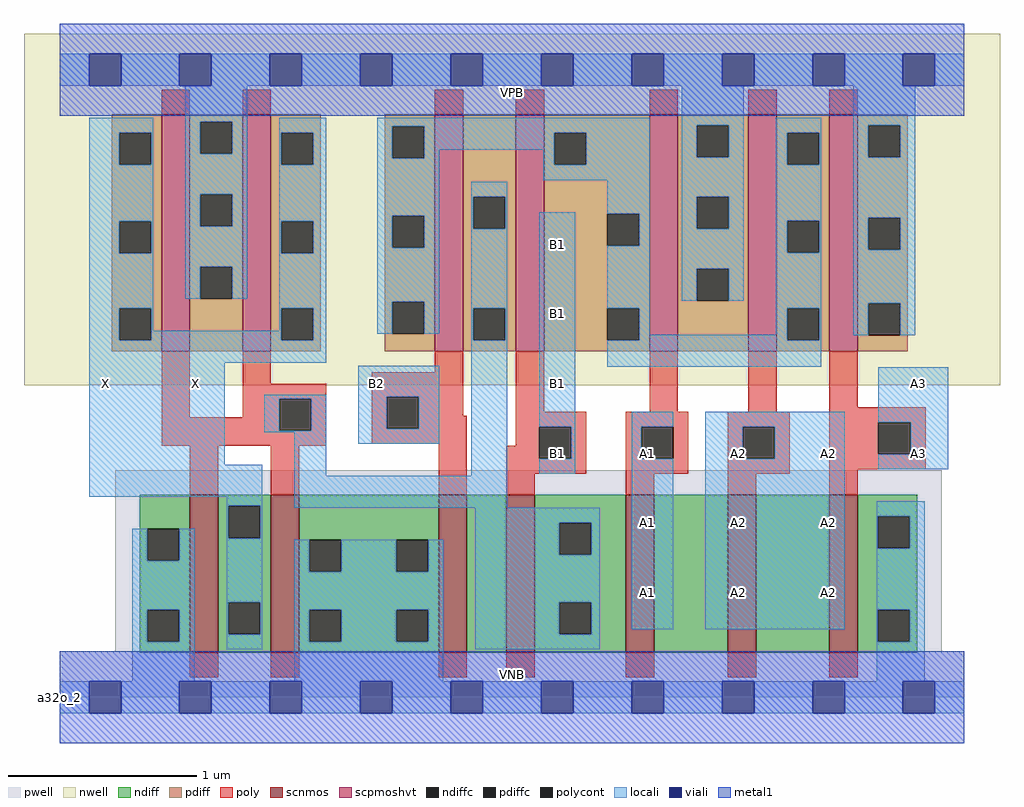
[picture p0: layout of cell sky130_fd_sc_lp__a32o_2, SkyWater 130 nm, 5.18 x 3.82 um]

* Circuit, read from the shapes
.subckt sky130_fd_sc_lp__a32o_2 A1 A2 A3 B1 B2 VGND VNB VPB VPWR X
XM1 X n1 VGND VNB sky130_fd_pr__nfet_01v8 w=0.84 l=0.15 m=2
XM2 n2 B2 VGND VNB sky130_fd_pr__nfet_01v8 w=0.84 l=0.15
XM3 n1 B1 n2 VNB sky130_fd_pr__nfet_01v8 w=0.84 l=0.15
XM4 n3 A1 n1 VNB sky130_fd_pr__nfet_01v8 w=0.84 l=0.15
XM5 n4 A2 n3 VNB sky130_fd_pr__nfet_01v8 w=0.84 l=0.15
XM6 VGND A3 n4 VNB sky130_fd_pr__nfet_01v8 w=0.84 l=0.15
XM7 VPWR n1 X VPB sky130_fd_pr__pfet_01v8_hvt w=1.26 l=0.15 m=2
XM8 n1 B2 n5 VPB sky130_fd_pr__pfet_01v8_hvt w=1.26 l=0.15
XM9 n5 B1 n1 VPB sky130_fd_pr__pfet_01v8_hvt w=1.26 l=0.15
XM10 VPWR A1 n5 VPB sky130_fd_pr__pfet_01v8_hvt w=1.26 l=0.15
XM11 n5 A2 VPWR VPB sky130_fd_pr__pfet_01v8_hvt w=1.26 l=0.15
XM12 VPWR A3 n5 VPB sky130_fd_pr__pfet_01v8_hvt w=1.26 l=0.15
.ends

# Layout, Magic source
magic
tech sky130A
magscale 1 2
<< nwell >>
rect -38 331 998 704
<< pwell >>
rect 59 49 936 241
rect 0 0 960 49
<< scnmos >>
rect 138 47 168 215
rect 224 47 254 215
rect 402 47 432 215
rect 474 47 504 215
rect 601 47 631 215
rect 709 47 739 215
rect 817 47 847 215
<< scpmoshvt >>
rect 108 367 138 619
rect 194 367 224 619
rect 398 367 428 619
rect 484 367 514 619
rect 626 367 656 619
rect 731 367 761 619
rect 817 367 847 619
<< ndiff >>
rect 85 179 138 215
rect 85 145 93 179
rect 127 145 138 179
rect 85 93 138 145
rect 85 59 93 93
rect 127 59 138 93
rect 85 47 138 59
rect 168 203 224 215
rect 168 169 179 203
rect 213 169 224 203
rect 168 101 224 169
rect 168 67 179 101
rect 213 67 224 101
rect 168 47 224 67
rect 254 167 402 215
rect 254 133 265 167
rect 299 133 357 167
rect 391 133 402 167
rect 254 93 402 133
rect 254 59 265 93
rect 299 59 357 93
rect 391 59 402 93
rect 254 47 402 59
rect 432 47 474 215
rect 504 185 601 215
rect 504 151 530 185
rect 564 151 601 185
rect 504 101 601 151
rect 504 67 530 101
rect 564 67 601 101
rect 504 47 601 67
rect 631 47 709 215
rect 739 47 817 215
rect 847 192 910 215
rect 847 158 868 192
rect 902 158 910 192
rect 847 93 910 158
rect 847 59 868 93
rect 902 59 910 93
rect 847 47 910 59
<< pdiff >>
rect 55 599 108 619
rect 55 565 63 599
rect 97 565 108 599
rect 55 505 108 565
rect 55 471 63 505
rect 97 471 108 505
rect 55 413 108 471
rect 55 379 63 413
rect 97 379 108 413
rect 55 367 108 379
rect 138 611 194 619
rect 138 577 149 611
rect 183 577 194 611
rect 138 534 194 577
rect 138 500 149 534
rect 183 500 194 534
rect 138 457 194 500
rect 138 423 149 457
rect 183 423 194 457
rect 138 367 194 423
rect 224 599 277 619
rect 224 565 235 599
rect 269 565 277 599
rect 224 505 277 565
rect 224 471 235 505
rect 269 471 277 505
rect 224 413 277 471
rect 224 379 235 413
rect 269 379 277 413
rect 224 367 277 379
rect 345 606 398 619
rect 345 572 353 606
rect 387 572 398 606
rect 345 511 398 572
rect 345 477 353 511
rect 387 477 398 511
rect 345 420 398 477
rect 345 386 353 420
rect 387 386 398 420
rect 345 367 398 386
rect 428 531 484 619
rect 428 497 439 531
rect 473 497 484 531
rect 428 413 484 497
rect 428 379 439 413
rect 473 379 484 413
rect 428 367 484 379
rect 514 599 626 619
rect 514 565 525 599
rect 559 565 626 599
rect 514 513 626 565
rect 514 479 581 513
rect 615 479 626 513
rect 514 413 626 479
rect 514 379 581 413
rect 615 379 626 413
rect 514 367 626 379
rect 656 607 731 619
rect 656 573 676 607
rect 710 573 731 607
rect 656 531 731 573
rect 656 497 676 531
rect 710 497 731 531
rect 656 455 731 497
rect 656 421 676 455
rect 710 421 731 455
rect 656 367 731 421
rect 761 599 817 619
rect 761 565 772 599
rect 806 565 817 599
rect 761 506 817 565
rect 761 472 772 506
rect 806 472 817 506
rect 761 413 817 472
rect 761 379 772 413
rect 806 379 817 413
rect 761 367 817 379
rect 847 607 900 619
rect 847 573 858 607
rect 892 573 900 607
rect 847 509 900 573
rect 847 475 858 509
rect 892 475 900 509
rect 847 418 900 475
rect 847 384 858 418
rect 892 384 900 418
rect 847 367 900 384
<< ndiffc >>
rect 93 145 127 179
rect 93 59 127 93
rect 179 169 213 203
rect 179 67 213 101
rect 265 133 299 167
rect 357 133 391 167
rect 265 59 299 93
rect 357 59 391 93
rect 530 151 564 185
rect 530 67 564 101
rect 868 158 902 192
rect 868 59 902 93
<< pdiffc >>
rect 63 565 97 599
rect 63 471 97 505
rect 63 379 97 413
rect 149 577 183 611
rect 149 500 183 534
rect 149 423 183 457
rect 235 565 269 599
rect 235 471 269 505
rect 235 379 269 413
rect 353 572 387 606
rect 353 477 387 511
rect 353 386 387 420
rect 439 497 473 531
rect 439 379 473 413
rect 525 565 559 599
rect 581 479 615 513
rect 581 379 615 413
rect 676 573 710 607
rect 676 497 710 531
rect 676 421 710 455
rect 772 565 806 599
rect 772 472 806 506
rect 772 379 806 413
rect 858 573 892 607
rect 858 475 892 509
rect 858 384 892 418
<< poly >>
rect 108 619 138 645
rect 194 619 224 645
rect 398 619 428 645
rect 484 619 514 645
rect 626 619 656 645
rect 731 619 761 645
rect 817 619 847 645
rect 108 297 138 367
rect 194 333 224 367
rect 398 345 428 367
rect 194 317 283 333
rect 194 297 233 317
rect 108 283 233 297
rect 267 283 283 317
rect 108 267 283 283
rect 331 319 428 345
rect 331 285 347 319
rect 381 299 428 319
rect 484 303 514 367
rect 626 303 656 367
rect 731 303 761 367
rect 817 308 847 367
rect 381 285 432 299
rect 331 269 432 285
rect 138 215 168 267
rect 224 215 254 267
rect 402 215 432 269
rect 484 287 559 303
rect 484 267 509 287
rect 474 253 509 267
rect 543 253 559 287
rect 474 237 559 253
rect 601 287 667 303
rect 601 253 617 287
rect 651 253 667 287
rect 601 237 667 253
rect 709 287 775 303
rect 709 253 725 287
rect 759 253 775 287
rect 709 237 775 253
rect 817 292 919 308
rect 817 258 869 292
rect 903 258 919 292
rect 817 242 919 258
rect 474 215 504 237
rect 601 215 631 237
rect 709 215 739 237
rect 817 215 847 242
rect 138 21 168 47
rect 224 21 254 47
rect 402 21 432 47
rect 474 21 504 47
rect 601 21 631 47
rect 709 21 739 47
rect 817 21 847 47
<< polycont >>
rect 233 283 267 317
rect 347 285 381 319
rect 509 253 543 287
rect 617 253 651 287
rect 725 253 759 287
rect 869 258 903 292
<< locali >>
rect 0 649 31 683
rect 65 649 127 683
rect 161 649 223 683
rect 257 649 319 683
rect 353 649 415 683
rect 449 649 511 683
rect 545 649 607 683
rect 641 649 703 683
rect 737 649 799 683
rect 833 649 895 683
rect 929 649 960 683
rect 31 599 99 615
rect 31 565 63 599
rect 97 565 99 599
rect 31 505 99 565
rect 31 471 63 505
rect 97 471 99 505
rect 31 413 99 471
rect 133 611 199 649
rect 133 577 149 611
rect 183 577 199 611
rect 133 534 199 577
rect 133 500 149 534
rect 183 500 199 534
rect 133 457 199 500
rect 133 423 149 457
rect 183 423 199 457
rect 233 599 283 615
rect 233 565 235 599
rect 269 565 283 599
rect 233 505 283 565
rect 233 471 235 505
rect 269 471 283 505
rect 31 379 63 413
rect 97 389 99 413
rect 233 413 283 471
rect 233 389 235 413
rect 97 379 235 389
rect 269 379 283 413
rect 337 606 626 615
rect 337 572 353 606
rect 387 599 626 606
rect 387 581 525 599
rect 387 572 403 581
rect 337 511 403 572
rect 513 565 525 581
rect 559 565 626 599
rect 513 549 626 565
rect 337 477 353 511
rect 387 477 403 511
rect 337 420 403 477
rect 337 386 353 420
rect 387 386 403 420
rect 437 531 475 547
rect 437 497 439 531
rect 473 497 475 531
rect 437 413 475 497
rect 31 355 283 379
rect 437 379 439 413
rect 473 379 475 413
rect 31 247 175 355
rect 217 317 283 321
rect 217 283 233 317
rect 267 283 283 317
rect 217 281 283 283
rect 31 213 215 247
rect 177 203 215 213
rect 77 145 93 179
rect 127 145 143 179
rect 77 93 143 145
rect 77 59 93 93
rect 127 59 143 93
rect 77 17 143 59
rect 177 169 179 203
rect 213 169 215 203
rect 249 235 283 281
rect 317 319 403 352
rect 317 285 347 319
rect 381 285 403 319
rect 317 269 403 285
rect 437 235 475 379
rect 509 287 547 515
rect 581 513 626 549
rect 615 479 626 513
rect 581 413 626 479
rect 660 607 726 649
rect 660 573 676 607
rect 710 573 726 607
rect 660 531 726 573
rect 660 497 676 531
rect 710 497 726 531
rect 660 455 726 497
rect 660 421 676 455
rect 710 421 726 455
rect 760 599 808 615
rect 760 565 772 599
rect 806 565 808 599
rect 760 506 808 565
rect 760 472 772 506
rect 806 472 808 506
rect 615 385 626 413
rect 760 413 808 472
rect 760 385 772 413
rect 615 379 772 385
rect 806 379 808 413
rect 842 607 908 649
rect 842 573 858 607
rect 892 573 908 607
rect 842 509 908 573
rect 842 475 858 509
rect 892 475 908 509
rect 842 418 908 475
rect 842 384 858 418
rect 892 384 908 418
rect 581 351 808 379
rect 543 253 547 287
rect 509 237 547 253
rect 607 287 651 303
rect 607 253 617 287
rect 249 201 475 235
rect 177 101 215 169
rect 441 185 573 201
rect 177 67 179 101
rect 213 67 215 101
rect 177 51 215 67
rect 249 133 265 167
rect 299 133 357 167
rect 391 133 407 167
rect 249 93 407 133
rect 249 59 265 93
rect 299 59 357 93
rect 391 59 407 93
rect 249 17 407 59
rect 441 151 530 185
rect 564 151 573 185
rect 441 101 573 151
rect 441 67 530 101
rect 564 67 573 101
rect 607 72 651 253
rect 685 287 833 303
rect 685 253 725 287
rect 759 253 833 287
rect 685 72 833 253
rect 869 292 943 350
rect 903 258 943 292
rect 869 242 943 258
rect 867 192 918 208
rect 867 158 868 192
rect 902 158 918 192
rect 867 93 918 158
rect 441 51 573 67
rect 867 59 868 93
rect 902 59 918 93
rect 867 17 918 59
rect 0 -17 31 17
rect 65 -17 127 17
rect 161 -17 223 17
rect 257 -17 319 17
rect 353 -17 415 17
rect 449 -17 511 17
rect 545 -17 607 17
rect 641 -17 703 17
rect 737 -17 799 17
rect 833 -17 895 17
rect 929 -17 960 17
<< viali >>
rect 31 649 65 683
rect 127 649 161 683
rect 223 649 257 683
rect 319 649 353 683
rect 415 649 449 683
rect 511 649 545 683
rect 607 649 641 683
rect 703 649 737 683
rect 799 649 833 683
rect 895 649 929 683
rect 31 -17 65 17
rect 127 -17 161 17
rect 223 -17 257 17
rect 319 -17 353 17
rect 415 -17 449 17
rect 511 -17 545 17
rect 607 -17 641 17
rect 703 -17 737 17
rect 799 -17 833 17
rect 895 -17 929 17
<< metal1 >>
rect 0 683 960 715
rect 0 649 31 683
rect 65 649 127 683
rect 161 649 223 683
rect 257 649 319 683
rect 353 649 415 683
rect 449 649 511 683
rect 545 649 607 683
rect 641 649 703 683
rect 737 649 799 683
rect 833 649 895 683
rect 929 649 960 683
rect 0 617 960 649
rect 0 17 960 49
rect 0 -17 31 17
rect 65 -17 127 17
rect 161 -17 223 17
rect 257 -17 319 17
rect 353 -17 415 17
rect 449 -17 511 17
rect 545 -17 607 17
rect 641 -17 703 17
rect 737 -17 799 17
rect 833 -17 895 17
rect 929 -17 960 17
rect 0 -49 960 -17
<< labels >>
flabel pwell s 0 0 960 49 0 FreeSans 200 0 0 0 VNB
port 7 nsew ground bidirectional
flabel nwell s 0 617 960 666 0 FreeSans 200 0 0 0 VPB
port 8 nsew power bidirectional
rlabel comment s 0 0 0 0 4 a32o_2
flabel metal1 s 0 617 960 666 0 FreeSans 340 0 0 0 VPWR
port 9 nsew power bidirectional
flabel metal1 s 0 0 960 49 0 FreeSans 340 0 0 0 VGND
port 6 nsew ground bidirectional
flabel locali s 31 316 65 350 0 FreeSans 340 0 0 0 X
port 10 nsew signal output
flabel locali s 127 316 161 350 0 FreeSans 340 0 0 0 X
port 10 nsew signal output
flabel locali s 607 94 641 128 0 FreeSans 340 0 0 0 A1
port 1 nsew signal input
flabel locali s 607 168 641 202 0 FreeSans 340 0 0 0 A1
port 1 nsew signal input
flabel locali s 607 242 641 276 0 FreeSans 340 0 0 0 A1
port 1 nsew signal input
flabel locali s 703 94 737 128 0 FreeSans 340 0 0 0 A2
port 2 nsew signal input
flabel locali s 703 168 737 202 0 FreeSans 340 0 0 0 A2
port 2 nsew signal input
flabel locali s 703 242 737 276 0 FreeSans 340 0 0 0 A2
port 2 nsew signal input
flabel locali s 799 94 833 128 0 FreeSans 340 0 0 0 A2
port 2 nsew signal input
flabel locali s 799 168 833 202 0 FreeSans 340 0 0 0 A2
port 2 nsew signal input
flabel locali s 799 242 833 276 0 FreeSans 340 0 0 0 A2
port 2 nsew signal input
flabel locali s 511 242 545 276 0 FreeSans 340 0 0 0 B1
port 4 nsew signal input
flabel locali s 511 316 545 350 0 FreeSans 340 0 0 0 B1
port 4 nsew signal input
flabel locali s 511 390 545 424 0 FreeSans 340 0 0 0 B1
port 4 nsew signal input
flabel locali s 511 464 545 498 0 FreeSans 340 0 0 0 B1
port 4 nsew signal input
flabel locali s 895 242 929 276 0 FreeSans 340 0 0 0 A3
port 3 nsew signal input
flabel locali s 895 316 929 350 0 FreeSans 340 0 0 0 A3
port 3 nsew signal input
flabel locali s 319 316 353 350 0 FreeSans 340 0 0 0 B2
port 5 nsew signal input
<< properties >>
string LEFsite unit
string LEFclass CORE
string FIXED_BBOX 0 0 960 666
string GDS_FILE $PDKPATH/libs.ref/sky130_fd_sc_lp/gds/sky130_fd_sc_lp.gds
string LEFsymmetry X Y R90
string GDS_END 2177710
string GDS_START 2168086
<< end >>
